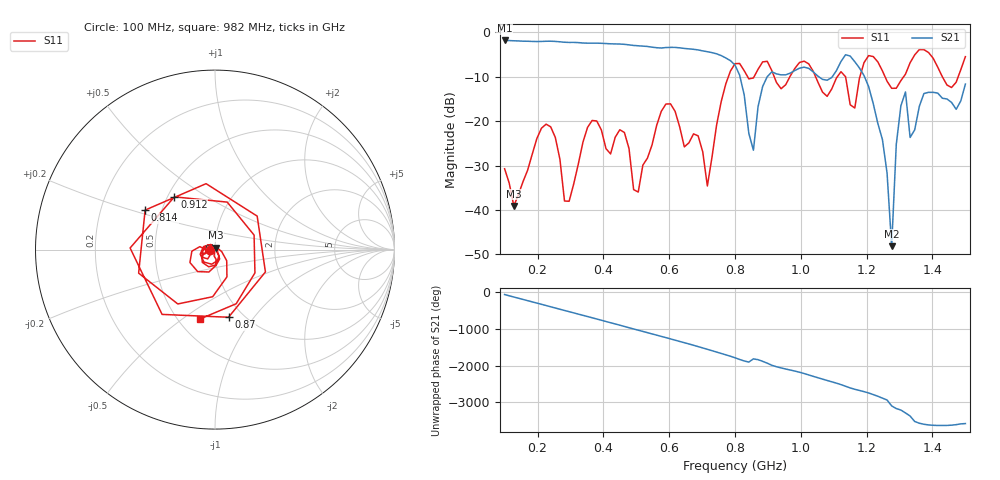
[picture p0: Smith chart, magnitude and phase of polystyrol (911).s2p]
! NanoVNA-App
! Date: 2025-09-25 15:36:58
! Start: 100MHz Stop: 1,5GHz Points: 101
! S-Parameter data: F S11 S21 S12 S22
# Hz S RI R 50
!  Frequency  S11_Real  S11_Imag  S21_Real  S21_Imag  S12_Real  S12_Imag  S22_Real  S22_Imag
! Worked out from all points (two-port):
!   101 points, 100 MHz to 1.5 GHz, reference 50 ohm
!   highest |S21| = -1.80 dB at 100 MHz (marker M1); lowest = -48.2 dB at 1.276 GHz (marker M2)
!   |S21| within 3 dB of the highest: start of sweep to 743.4 MHz
!   lowest |S11| = -39.1 dB at 128 MHz (marker M3), VSWR 1.02, Z = 50.3 + j1.06 ohm
!   |S11| at or under -10 dB: start of sweep to 779.8 MHz; 1.045 GHz to 1.111 GHz (65.68 MHz wide, 6.09 % of centre); 1.256 GHz to 1.312 GHz (56.12 MHz wide, 4.37 % of centre) (the widest 3 of 7)
!   S12 and S22 are empty: the file has one direction only
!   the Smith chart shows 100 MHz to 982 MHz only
!   S11 on the Smith chart (normalised r, x): 100 MHz: 0.94, -0.01; 814 MHz: 0.40, +0.22; 870 MHz: 0.85, -0.76; 912 MHz: 0.54, +0.37; 982 MHz: 0.64, -0.59
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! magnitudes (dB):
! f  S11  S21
! 100 MHz  -30.7  -1.8
! 128 MHz  -39.1  -1.9
! 212 MHz  -21.6  -2.0
! 282 MHz  -38.0  -2.2
! 338 MHz  -24.7  -2.4
! 464 MHz  -22.5  -2.7
! 506 MHz  -36.0  -3.0
! 576 MHz  -17.8  -3.5
! 716 MHz  -34.6  -4.3
! 800 MHz  -7.0  -7.3
! 814 MHz  -7.0  -9.6
! 856 MHz  -10.2  -26.5
! 870 MHz  -8.3  -16.7
! 912 MHz  -8.6  -8.9
! 982 MHz  -8.1  -8.6
! 1.038 GHz  -8.8  -8.9
! 1.192 GHz  -6.8  -9.7
! 1.248 GHz  -8.7  -24.2
! 1.276 GHz  -12.6  -48.2
! 1.29 GHz  -12.6  -25.2
! 1.318 GHz  -9.4  -13.4
! 1.5 GHz  -5.5  -11.6
